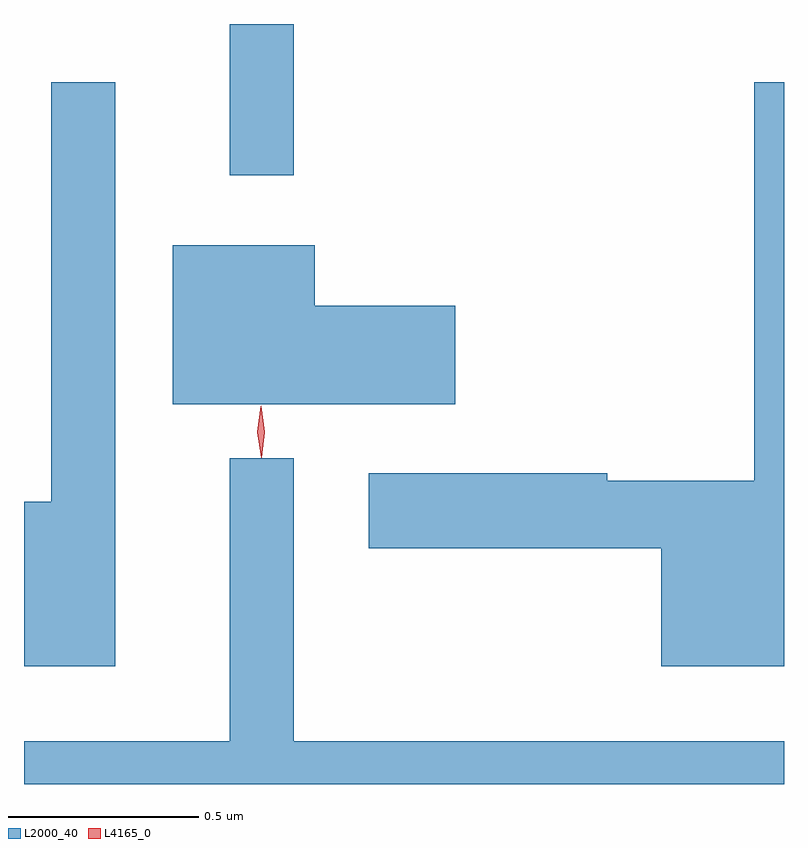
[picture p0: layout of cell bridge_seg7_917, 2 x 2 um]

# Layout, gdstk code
import gdstk
lib = gdstk.Library(unit=1e-6, precision=1e-09)
def R(c, l, rs):  # rectangles x0, y0, x1, y1
    for r in rs: c.add(gdstk.rectangle(r[:2], r[2:], *l))
def P(c, l, *ps):  # polygons
    for p in ps: c.add(gdstk.Polygon(p, *l))
L2000_40 = (2000, 40)
L4165_0 = (4165, 0)

bridge_seg7_917 = lib.new_cell('bridge_seg7_917')
R(bridge_seg7_917, L2000_40, [(210.831,1711.633,210.999,1712.031)])
P(bridge_seg7_917, L2000_40, [(212.289,1711.878),(212.211,1711.878),(212.211,1710.829),(211.824,1710.829),(211.824,1710.849),(211.196,1710.849),(211.196,1710.651),(211.966,1710.651),(211.966,1710.341),(212.289,1710.341)],
  [(210.529,1711.878),(210.361,1711.878),(210.361,1710.774),(210.289,1710.774),(210.289,1710.341),(210.529,1710.341)],
  [(211.424,1711.289),(211.054,1711.289),(211.054,1711.449),(210.681,1711.449),(210.681,1711.031),(211.424,1711.031)],
  [(212.289,1710.144),(210.999,1710.144),(210.999,1710.888),(210.831,1710.888),(210.831,1710.144),(210.289,1710.144),(210.289,1710.031),(212.289,1710.031)])
P(bridge_seg7_917, L4165_0, [(210.913,1710.893),(210.913,1710.893),(210.903,1710.956),(210.912,1711.019),(210.912,1711.02),(210.913,1711.019),(210.923,1710.956),(210.914,1710.893)],
  [(210.913,1710.889),(210.913,1710.89),(210.903,1710.958),(210.912,1711.025),(210.913,1711.026),(210.913,1711.025),(210.923,1710.958),(210.914,1710.89)])

lib.write_gds('bridge_seg7_917.gds')
